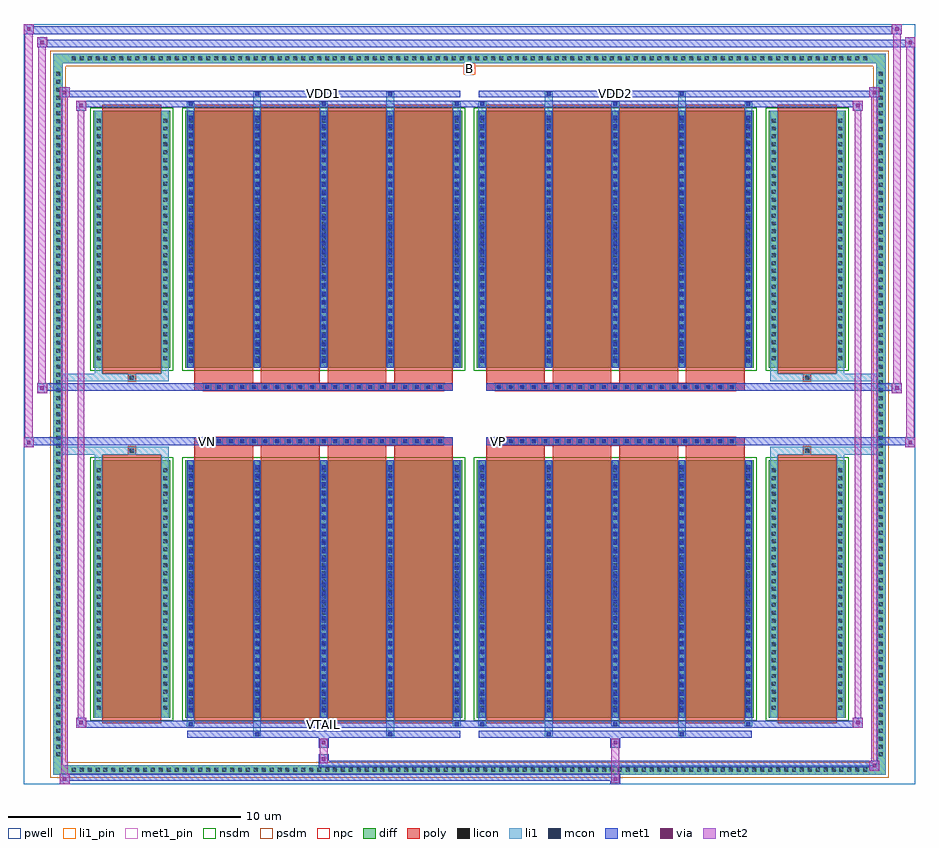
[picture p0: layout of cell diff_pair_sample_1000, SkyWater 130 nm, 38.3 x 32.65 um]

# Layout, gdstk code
import gdstk
lib = gdstk.Library(unit=1e-6, precision=5e-09)
def R(c, l, rs):  # rectangles x0, y0, x1, y1
    for r in rs: c.add(gdstk.rectangle(r[:2], r[2:], *l))
def A(c, l, x, y, w, h, nx, ny, dx, dy):  # array of equal rectangles
    R(c, l, [(x+i*dx, y+j*dy, x+i*dx+w, y+j*dy+h) for i in range(nx) for j in range(ny)])
def P(c, l, *ps):  # polygons
    for p in ps: c.add(gdstk.Polygon(p, *l))
pwell = (64, 44)
diff = (65, 20)
poly = (66, 20)
licon = (66, 44)
li1_pin = (67, 16)
li1 = (67, 20)
mcon = (67, 44)
met1_pin = (68, 16)
met1 = (68, 20)
via = (68, 44)
met2 = (69, 20)
nsdm = (93, 44)
psdm = (94, 20)
npc = (95, 20)

diff_pair_sample_1000 = lib.new_cell('diff_pair_sample_1000')
R(diff_pair_sample_1000, pwell, [(-19.15,-15.89,19.15,16.76), (-16.47,-14.08,-0.01,-0.8), (0.01,-14.08,16.47,-0.8), (-16.47,0.8,-0.01,14.08), (0.01,0.8,16.47,14.08)])
A(diff_pair_sample_1000, diff, -17.205, -15.49, 0.41, 0.41, 101, 2, 0.34, 30.57)
A(diff_pair_sample_1000, diff, -17.88, -14.825, 0.41, 0.41, 1, 87, 0, 0.34)
A(diff_pair_sample_1000, diff, 17.47, -14.825, 0.41, 0.41, 1, 87, 0, 0.34)
R(diff_pair_sample_1000, diff, [(-17.205,-15.49,17.205,-15.08), (-17.88,-14.825,-17.47,14.825), (17.47,-14.825,17.88,14.825), (-16.16,-13.035,-12.85,-1.985), (-12.21,-13.035,-0.32,-1.985), (0.32,-13.035,12.21,-1.985), (12.85,-13.035,16.16,-1.985), (-16.16,1.985,-12.85,13.035), (-12.21,1.985,-0.32,13.035), (0.32,1.985,12.21,13.035), (12.85,1.985,16.16,13.035), (-17.205,15.08,17.205,15.49)])
P(diff_pair_sample_1000, diff, [(17.88,15.49),(-17.88,15.49),(-17.88,-15.08),(-17.47,-15.08),(-17.47,15.08),(17.47,15.08),(17.47,-15.08),(-17.47,-15.08),(-17.88,-15.08),(-17.88,-15.49),(17.88,-15.49)])
A(diff_pair_sample_1000, poly, -11.82, -13.285, 2.53, 11.55, 4, 2, 2.86, 15.02)
A(diff_pair_sample_1000, poly, 0.71, -13.285, 2.53, 11.55, 4, 2, 2.86, 15.02)
A(diff_pair_sample_1000, poly, -11.82, -1.735, 2.53, 0.405, 4, 2, 2.86, 3.065)
A(diff_pair_sample_1000, poly, 0.71, -1.735, 2.53, 0.405, 4, 2, 2.86, 3.065)
A(diff_pair_sample_1000, poly, -11.43, -1.33, 0.33, 0.33, 21, 2, 0.5, 2.33)
A(diff_pair_sample_1000, poly, 1.1, -1.33, 0.33, 0.33, 21, 2, 0.5, 2.33)
R(diff_pair_sample_1000, poly, [(-15.77,-13.285,-13.24,-1.735), (13.24,-13.285,15.77,-1.735), (-14.67,-1.735,-14.34,-1.405), (-14.67,-1.735,-14.34,-1.405), (14.34,-1.735,14.67,-1.405), (14.34,-1.735,14.67,-1.405), (-11.82,-1.33,-0.71,-1), (0.71,-1.33,11.82,-1), (-11.82,1,-0.71,1.33), (0.71,1,11.82,1.33), (-14.67,1.405,-14.34,1.735), (-14.67,1.405,-14.34,1.735), (14.34,1.405,14.67,1.735), (14.34,1.405,14.67,1.735), (-15.77,1.735,-13.24,13.285), (13.24,1.735,15.77,13.285)])
A(diff_pair_sample_1000, licon, -17.085, -15.37, 0.17, 0.17, 101, 2, 0.34, 30.57)
A(diff_pair_sample_1000, licon, -17.76, -14.705, 0.17, 0.17, 1, 87, 0, 0.34)
A(diff_pair_sample_1000, licon, 17.59, -14.705, 0.17, 0.17, 1, 87, 0, 0.34)
A(diff_pair_sample_1000, licon, -16.02, -12.695, 0.17, 0.17, 1, 31, 0, 0.34)
A(diff_pair_sample_1000, licon, -13.16, -12.695, 0.17, 0.17, 1, 31, 0, 0.34)
A(diff_pair_sample_1000, licon, -12.07, -12.695, 0.17, 0.17, 5, 31, 2.86, 0.34)
A(diff_pair_sample_1000, licon, 0.46, -12.695, 0.17, 0.17, 5, 31, 2.86, 0.34)
A(diff_pair_sample_1000, licon, 12.99, -12.695, 0.17, 0.17, 1, 31, 0, 0.34)
A(diff_pair_sample_1000, licon, 15.85, -12.695, 0.17, 0.17, 1, 31, 0, 0.34)
A(diff_pair_sample_1000, licon, -11.35, -1.25, 0.17, 0.17, 21, 2, 0.5, 2.33)
A(diff_pair_sample_1000, licon, 1.18, -1.25, 0.17, 0.17, 21, 2, 0.5, 2.33)
A(diff_pair_sample_1000, licon, -16.02, 2.325, 0.17, 0.17, 1, 31, 0, 0.34)
A(diff_pair_sample_1000, licon, -13.16, 2.325, 0.17, 0.17, 1, 31, 0, 0.34)
A(diff_pair_sample_1000, licon, -12.07, 2.325, 0.17, 0.17, 5, 31, 2.86, 0.34)
A(diff_pair_sample_1000, licon, 0.46, 2.325, 0.17, 0.17, 5, 31, 2.86, 0.34)
A(diff_pair_sample_1000, licon, 12.99, 2.325, 0.17, 0.17, 1, 31, 0, 0.34)
A(diff_pair_sample_1000, licon, 15.85, 2.325, 0.17, 0.17, 1, 31, 0, 0.34)
R(diff_pair_sample_1000, licon, [(-14.59,-1.655,-14.42,-1.485), (14.42,-1.655,14.59,-1.485), (-14.59,1.485,-14.42,1.655), (14.42,1.485,14.59,1.655)])
R(diff_pair_sample_1000, li1_pin, [(-0.25,14.58,0.25,15.08)])
A(diff_pair_sample_1000, li1, -17.165, -15.45, 0.33, 0.33, 101, 2, 0.34, 30.57)
A(diff_pair_sample_1000, li1, -17.84, -14.785, 0.33, 0.33, 1, 87, 0, 0.34)
A(diff_pair_sample_1000, li1, 17.51, -14.785, 0.33, 0.33, 1, 87, 0, 0.34)
A(diff_pair_sample_1000, li1, -12.15, -13.41, 0.33, 0.375, 3, 2, 5.72, 26.445)
A(diff_pair_sample_1000, li1, -12.07, -13.41, 0.17, 0.17, 3, 2, 5.72, 26.65)
A(diff_pair_sample_1000, li1, 0.38, -13.41, 0.33, 0.375, 3, 2, 5.72, 26.445)
A(diff_pair_sample_1000, li1, 0.46, -13.41, 0.17, 0.17, 3, 2, 5.72, 26.65)
A(diff_pair_sample_1000, li1, -12.15, -13.035, 0.33, 11.05, 5, 2, 2.86, 15.02)
A(diff_pair_sample_1000, li1, 0.38, -13.035, 0.33, 11.05, 5, 2, 2.86, 15.02)
A(diff_pair_sample_1000, li1, -12.07, -12.815, 0.17, 0.17, 5, 30, 2.86, 0.36)
A(diff_pair_sample_1000, li1, -12.07, -12.815, 0.17, 10.61, 5, 2, 2.86, 15.02)
A(diff_pair_sample_1000, li1, 0.46, -12.815, 0.17, 0.17, 5, 30, 2.86, 0.36)
A(diff_pair_sample_1000, li1, 0.46, -12.815, 0.17, 10.61, 5, 2, 2.86, 15.02)
A(diff_pair_sample_1000, li1, -16.1, -12.775, 0.33, 0.33, 1, 31, 0, 0.34)
A(diff_pair_sample_1000, li1, -13.24, -12.775, 0.33, 0.33, 1, 31, 0, 0.34)
A(diff_pair_sample_1000, li1, -12.15, -12.775, 0.33, 0.33, 5, 31, 2.86, 0.34)
A(diff_pair_sample_1000, li1, 0.38, -12.775, 0.33, 0.33, 5, 31, 2.86, 0.34)
A(diff_pair_sample_1000, li1, 12.91, -12.775, 0.33, 0.33, 1, 31, 0, 0.34)
A(diff_pair_sample_1000, li1, 15.77, -12.775, 0.33, 0.33, 1, 31, 0, 0.34)
A(diff_pair_sample_1000, li1, -11.43, -1.33, 0.33, 0.33, 21, 2, 0.5, 2.33)
A(diff_pair_sample_1000, li1, 1.1, -1.33, 0.33, 0.33, 21, 2, 0.5, 2.33)
A(diff_pair_sample_1000, li1, -12.07, 2.205, 0.17, 0.17, 5, 30, 2.86, 0.36)
A(diff_pair_sample_1000, li1, 0.46, 2.205, 0.17, 0.17, 5, 30, 2.86, 0.36)
A(diff_pair_sample_1000, li1, -16.1, 2.245, 0.33, 0.33, 1, 31, 0, 0.34)
A(diff_pair_sample_1000, li1, -13.24, 2.245, 0.33, 0.33, 1, 31, 0, 0.34)
A(diff_pair_sample_1000, li1, -12.15, 2.245, 0.33, 0.33, 5, 31, 2.86, 0.34)
A(diff_pair_sample_1000, li1, 0.38, 2.245, 0.33, 0.33, 5, 31, 2.86, 0.34)
A(diff_pair_sample_1000, li1, 12.91, 2.245, 0.33, 0.33, 1, 31, 0, 0.34)
A(diff_pair_sample_1000, li1, 15.77, 2.245, 0.33, 0.33, 1, 31, 0, 0.34)
R(diff_pair_sample_1000, li1, [(-17.88,-15.49,-17.47,-15.08), (-17.88,-15.49,-17.47,-15.08), (-17.47,-15.49,17.47,-15.08), (17.47,-15.49,17.88,-15.08), (17.47,-15.49,17.88,-15.08), (-17.88,-15.08,-17.47,15.08), (17.47,-15.08,17.88,15.08), (-9.29,-13.84,-8.96,-13.035), (-9.21,-13.84,-9.04,-13.67), (-3.57,-13.84,-3.24,-13.035), (-3.49,-13.84,-3.32,-13.67), (3.24,-13.84,3.57,-13.035), (3.32,-13.84,3.49,-13.67), (8.96,-13.84,9.29,-13.035), (9.04,-13.84,9.21,-13.67), (-16.1,-13.035,-15.77,-1.985), (-13.24,-13.035,-12.91,-1.985), (12.91,-13.035,13.24,-1.985), (15.77,-13.035,16.1,-1.985), (-16.1,-1.985,-15.77,-1.405), (-13.24,-1.985,-12.91,-1.405), (12.91,-1.985,13.24,-1.405), (15.77,-1.985,16.1,-1.405), (-17.88,-1.735,-14.67,-1.405), (-16.1,-1.735,-14.67,-1.405), (-14.67,-1.735,-14.34,-1.405), (-14.34,-1.735,-12.91,-1.405), (12.91,-1.735,14.34,-1.405), (14.34,-1.735,14.67,-1.405), (14.34,-1.735,17.88,-1.405), (14.67,-1.735,16.1,-1.405), (-17.88,1.405,-14.67,1.735), (-16.1,1.405,-14.67,1.735), (-16.1,1.405,-15.77,1.985), (-14.67,1.405,-14.34,1.735), (-14.34,1.405,-12.91,1.735), (-13.24,1.405,-12.91,1.985), (12.91,1.405,14.34,1.735), (12.91,1.405,13.24,1.985), (14.34,1.405,14.67,1.735), (14.34,1.405,17.88,1.735), (14.67,1.405,16.1,1.735), (15.77,1.405,16.1,1.985), (-16.1,1.985,-15.77,13.035), (-13.24,1.985,-12.91,13.035), (12.91,1.985,13.24,13.035), (15.77,1.985,16.1,13.035), (-9.29,13.035,-8.96,13.84), (-3.57,13.035,-3.24,13.84), (3.24,13.035,3.57,13.84), (8.96,13.035,9.29,13.84), (-9.21,13.67,-9.04,13.84), (-3.49,13.67,-3.32,13.84), (3.32,13.67,3.49,13.84), (9.04,13.67,9.21,13.84), (-17.88,15.08,-17.47,15.49), (-17.88,15.08,-17.47,15.49), (-17.47,15.08,17.47,15.49), (17.47,15.08,17.88,15.49), (17.47,15.08,17.88,15.49)])
A(diff_pair_sample_1000, mcon, -12.07, -13.41, 0.17, 0.17, 3, 2, 5.72, 26.65)
A(diff_pair_sample_1000, mcon, 0.46, -13.41, 0.17, 0.17, 3, 2, 5.72, 26.65)
A(diff_pair_sample_1000, mcon, -12.07, -12.815, 0.17, 0.17, 5, 30, 2.86, 0.36)
A(diff_pair_sample_1000, mcon, 0.46, -12.815, 0.17, 0.17, 5, 30, 2.86, 0.36)
A(diff_pair_sample_1000, mcon, -11.35, -1.25, 0.17, 0.17, 21, 2, 0.5, 2.33)
A(diff_pair_sample_1000, mcon, 1.18, -1.25, 0.17, 0.17, 21, 2, 0.5, 2.33)
A(diff_pair_sample_1000, mcon, -12.07, 2.205, 0.17, 0.17, 5, 30, 2.86, 0.36)
A(diff_pair_sample_1000, mcon, 0.46, 2.205, 0.17, 0.17, 5, 30, 2.86, 0.36)
R(diff_pair_sample_1000, mcon, [(-9.21,-13.84,-9.04,-13.67), (-3.49,-13.84,-3.32,-13.67), (3.32,-13.84,3.49,-13.67), (9.04,-13.84,9.21,-13.67), (-9.21,13.67,-9.04,13.84), (-3.49,13.67,-3.32,13.84), (3.32,13.67,3.49,13.84), (9.04,13.67,9.21,13.84)])
R(diff_pair_sample_1000, met1_pin, [(-6.4,-13.45,-6.13,-13.18), (-11.4,-1.29,-11.13,-1.02), (1.13,-1.29,1.4,-1.02), (-6.4,13.63,-6.13,13.9), (6.13,13.63,6.4,13.9)])
A(diff_pair_sample_1000, met1, -12.13, -13.47, 0.29, 0.29, 3, 2, 5.72, 26.65)
A(diff_pair_sample_1000, met1, 0.4, -13.47, 0.29, 0.29, 3, 2, 5.72, 26.65)
A(diff_pair_sample_1000, met1, -12.13, -13.035, 0.29, 11.05, 5, 2, 2.86, 15.02)
A(diff_pair_sample_1000, met1, 0.4, -13.035, 0.29, 11.05, 5, 2, 2.86, 15.02)
A(diff_pair_sample_1000, met1, -12.13, -12.875, 0.29, 0.29, 5, 30, 2.86, 0.36)
A(diff_pair_sample_1000, met1, 0.4, -12.875, 0.29, 0.29, 5, 30, 2.86, 0.36)
A(diff_pair_sample_1000, met1, -11.41, -1.31, 0.29, 0.29, 21, 2, 0.5, 2.33)
A(diff_pair_sample_1000, met1, 1.12, -1.31, 0.29, 0.29, 21, 2, 0.5, 2.33)
A(diff_pair_sample_1000, met1, -12.13, 2.145, 0.29, 0.29, 5, 30, 2.86, 0.36)
A(diff_pair_sample_1000, met1, 0.4, 2.145, 0.29, 0.29, 5, 30, 2.86, 0.36)
R(diff_pair_sample_1000, met1, [(-17.61,-15.89,-17.18,-15.46), (6.05,-15.89,6.48,-15.46), (-17.61,-15.75,6.48,-15.46), (17.18,-15.32,17.61,-14.89), (-6.48,-15.18,17.61,-14.89), (-6.48,-15.04,-6.05,-14.61), (-6.48,-14.33,-6.05,-13.9), (6.05,-14.33,6.48,-13.9), (-12.13,-13.9,-0.4,-13.61), (-9.27,-13.9,-8.98,-13.61), (-3.55,-13.9,-3.26,-13.61), (0.4,-13.9,12.13,-13.61), (3.26,-13.9,3.55,-13.61), (8.98,-13.9,9.27,-13.61), (-16.9,-13.47,-16.47,-13.04), (-16.9,-13.47,-12.13,-13.18), (-12.13,-13.47,-0.4,-13.18), (-0.4,-13.47,0.4,-13.18), (0.4,-13.47,12.13,-13.18), (12.13,-13.47,16.9,-13.18), (16.47,-13.47,16.9,-13.04), (-19.15,-1.43,-18.72,-1), (18.72,-1.43,19.15,-1), (-19.15,-1.33,-0.71,-1), (-11.82,-1.33,-0.71,-1), (0.71,-1.33,11.82,-1), (0.71,-1.33,19.15,-1), (-18.58,0.9,-18.15,1.33), (18.15,0.9,18.58,1.33), (-18.58,1,-11.82,1.33), (-11.82,1,-0.71,1.33), (0.71,1,11.82,1.33), (11.82,1,18.58,1.33), (-16.9,13.04,-16.47,13.47), (16.47,13.04,16.9,13.47), (-16.9,13.18,-12.13,13.47), (-12.13,13.18,-0.4,13.47), (-0.4,13.18,0.4,13.47), (0.4,13.18,12.13,13.47), (12.13,13.18,16.9,13.47), (-17.61,13.61,-17.18,14.04), (-17.61,13.61,-12.13,13.9), (-12.13,13.61,-0.4,13.9), (-9.27,13.61,-8.98,13.9), (-3.55,13.61,-3.26,13.9), (0.4,13.61,12.13,13.9), (3.26,13.61,3.55,13.9), (8.98,13.61,9.27,13.9), (12.13,13.61,17.61,13.9), (17.18,13.61,17.61,14.04), (-18.58,15.76,-18.15,16.19), (-18.58,15.76,-16.47,16.09), (-16.47,15.76,16.47,16.09), (16.47,15.76,19.15,16.09), (18.72,15.76,19.15,16.19), (-19.15,16.33,-18.72,16.76), (-19.15,16.33,-16.47,16.66), (-16.47,16.33,16.47,16.66), (16.47,16.33,18.58,16.66), (18.15,16.33,18.58,16.76)])
R(diff_pair_sample_1000, via, [(-17.47,-15.75,-17.32,-15.6), (6.19,-15.75,6.34,-15.6), (17.32,-15.18,17.47,-15.03), (-6.34,-14.9,-6.19,-14.75), (-6.34,-14.19,-6.19,-14.04), (6.19,-14.19,6.34,-14.04), (-16.76,-13.33,-16.61,-13.18), (16.61,-13.33,16.76,-13.18), (-19.01,-1.29,-18.86,-1.14), (18.86,-1.29,19.01,-1.14), (-18.44,1.04,-18.29,1.19), (18.29,1.04,18.44,1.19), (-16.76,13.18,-16.61,13.33), (16.61,13.18,16.76,13.33), (-17.47,13.75,-17.32,13.9), (17.32,13.75,17.47,13.9), (-18.44,15.9,-18.29,16.05), (18.86,15.9,19.01,16.05), (-19.01,16.47,-18.86,16.62), (18.29,16.47,18.44,16.62)])
R(diff_pair_sample_1000, met2, [(-17.61,-15.89,-17.18,-15.46), (-17.54,-15.89,-17.25,14.04), (-17.25,-15.89,-17.18,-15.46), (-17.56,-15.84,-17.23,-15.51), (6.1,-15.84,6.43,-15.51), (6.1,-15.51,6.43,-14.28), (17.18,-15.32,17.61,-14.89), (17.25,-15.32,17.54,14.04), (17.54,-15.32,17.61,-14.89), (17.23,-15.27,17.56,-14.94), (-6.43,-14.99,-6.1,-14.66), (-6.43,-14.66,-6.1,-14.28), (-6.43,-14.28,-6.1,-13.95), (6.1,-14.28,6.43,-13.95), (-16.9,-13.47,-16.47,-13.04), (-16.83,-13.47,-16.54,13.47), (-16.54,-13.47,-16.47,-13.04), (16.47,-13.47,16.9,-13.04), (16.54,-13.47,16.83,13.47), (16.83,-13.47,16.9,-13.04), (-16.85,-13.42,-16.52,-13.09), (16.52,-13.42,16.85,-13.09), (-19.15,-1.43,-18.72,-1), (-19.1,-1.43,-18.77,16.76), (-18.77,-1.43,-18.72,-1), (18.72,-1.43,19.15,-1), (18.77,-1.43,19.1,16.19), (19.1,-1.43,19.15,-1), (-19.1,-1.38,-18.77,-1.05), (18.77,-1.38,19.1,-1.05), (-18.58,0.9,-18.15,1.33), (-18.53,0.9,-18.2,16.19), (-18.2,0.9,-18.15,1.33), (18.15,0.9,18.58,1.33), (18.2,0.9,18.53,16.76), (18.53,0.9,18.58,1.33), (-18.53,0.95,-18.2,1.28), (18.2,0.95,18.53,1.28), (-16.9,13.04,-16.47,13.47), (-16.54,13.04,-16.47,13.47), (16.47,13.04,16.9,13.47), (16.83,13.04,16.9,13.47), (-16.85,13.09,-16.52,13.42), (16.52,13.09,16.85,13.42), (-17.61,13.61,-17.18,14.04), (-17.25,13.61,-17.18,14.04), (17.18,13.61,17.61,14.04), (17.54,13.61,17.61,14.04), (-17.56,13.66,-17.23,13.99), (17.23,13.66,17.56,13.99), (-18.58,15.76,-18.15,16.19), (-18.2,15.76,-18.15,16.19), (18.72,15.76,19.15,16.19), (19.1,15.76,19.15,16.19), (-18.53,15.81,-18.2,16.14), (18.77,15.81,19.1,16.14), (-19.15,16.33,-18.72,16.76), (-18.77,16.33,-18.72,16.76), (18.15,16.33,18.58,16.76), (18.53,16.33,18.58,16.76), (-19.1,16.38,-18.77,16.71), (18.2,16.38,18.53,16.71)])
R(diff_pair_sample_1000, nsdm, [(-16.29,-13.165,-12.72,-1.855), (-12.34,-13.165,-0.19,-1.855), (0.19,-13.165,12.34,-1.855), (12.72,-13.165,16.29,-1.855), (-16.29,1.855,-12.72,13.165), (-12.34,1.855,-0.19,13.165), (0.19,1.855,12.34,13.165), (12.72,1.855,16.29,13.165)])
P(diff_pair_sample_1000, psdm, [(18.01,15.62),(-18.01,15.62),(-18.01,-14.95),(-17.34,-14.95),(-17.34,14.95),(17.34,14.95),(17.34,-14.95),(-17.34,-14.95),(-18.01,-14.95),(-18.01,-15.62),(18.01,-15.62)])
A(diff_pair_sample_1000, npc, -11.45, -1.35, 0.37, 0.37, 21, 2, 0.5, 2.33)
A(diff_pair_sample_1000, npc, 1.08, -1.35, 0.37, 0.37, 21, 2, 0.5, 2.33)
R(diff_pair_sample_1000, npc, [(-14.69,-1.755,-14.32,-1.385), (14.32,-1.755,14.69,-1.385), (-11.45,-1.35,-10.58,-0.98), (-11.45,-1.35,-10.58,-0.98), (-10.95,-1.35,-10.08,-0.98), (-10.95,-1.35,-10.08,-0.98), (-10.45,-1.35,-9.58,-0.98), (-10.45,-1.35,-9.58,-0.98), (-9.95,-1.35,-9.08,-0.98), (-9.95,-1.35,-9.08,-0.98), (-9.45,-1.35,-8.58,-0.98), (-9.45,-1.35,-8.58,-0.98), (-8.95,-1.35,-8.08,-0.98), (-8.95,-1.35,-8.08,-0.98), (-8.45,-1.35,-7.58,-0.98), (-8.45,-1.35,-7.58,-0.98), (-7.95,-1.35,-7.08,-0.98), (-7.95,-1.35,-7.08,-0.98), (-7.45,-1.35,-6.58,-0.98), (-7.45,-1.35,-6.58,-0.98), (-6.95,-1.35,-6.08,-0.98), (-6.95,-1.35,-6.08,-0.98), (-6.45,-1.35,-5.58,-0.98), (-6.45,-1.35,-5.58,-0.98), (-5.95,-1.35,-5.08,-0.98), (-5.95,-1.35,-5.08,-0.98), (-5.45,-1.35,-4.58,-0.98), (-5.45,-1.35,-4.58,-0.98), (-4.95,-1.35,-4.08,-0.98), (-4.95,-1.35,-4.08,-0.98), (-4.45,-1.35,-3.58,-0.98), (-4.45,-1.35,-3.58,-0.98), (-3.95,-1.35,-3.08,-0.98), (-3.95,-1.35,-3.08,-0.98), (-3.45,-1.35,-2.58,-0.98), (-3.45,-1.35,-2.58,-0.98), (-2.95,-1.35,-2.08,-0.98), (-2.95,-1.35,-2.08,-0.98), (-2.45,-1.35,-1.58,-0.98), (-2.45,-1.35,-1.58,-0.98), (-1.95,-1.35,-1.08,-0.98), (-1.95,-1.35,-1.08,-0.98), (1.08,-1.35,1.95,-0.98), (1.08,-1.35,1.95,-0.98), (1.58,-1.35,2.45,-0.98), (1.58,-1.35,2.45,-0.98), (2.08,-1.35,2.95,-0.98), (2.08,-1.35,2.95,-0.98), (2.58,-1.35,3.45,-0.98), (2.58,-1.35,3.45,-0.98), (3.08,-1.35,3.95,-0.98), (3.08,-1.35,3.95,-0.98), (3.58,-1.35,4.45,-0.98), (3.58,-1.35,4.45,-0.98), (4.08,-1.35,4.95,-0.98), (4.08,-1.35,4.95,-0.98), (4.58,-1.35,5.45,-0.98), (4.58,-1.35,5.45,-0.98), (5.08,-1.35,5.95,-0.98), (5.08,-1.35,5.95,-0.98), (5.58,-1.35,6.45,-0.98), (5.58,-1.35,6.45,-0.98), (6.08,-1.35,6.95,-0.98), (6.08,-1.35,6.95,-0.98), (6.58,-1.35,7.45,-0.98), (6.58,-1.35,7.45,-0.98), (7.08,-1.35,7.95,-0.98), (7.08,-1.35,7.95,-0.98), (7.58,-1.35,8.45,-0.98), (7.58,-1.35,8.45,-0.98), (8.08,-1.35,8.95,-0.98), (8.08,-1.35,8.95,-0.98), (8.58,-1.35,9.45,-0.98), (8.58,-1.35,9.45,-0.98), (9.08,-1.35,9.95,-0.98), (9.08,-1.35,9.95,-0.98), (9.58,-1.35,10.45,-0.98), (9.58,-1.35,10.45,-0.98), (10.08,-1.35,10.95,-0.98), (10.08,-1.35,10.95,-0.98), (10.58,-1.35,11.45,-0.98), (10.58,-1.35,11.45,-0.98), (-11.45,0.98,-10.58,1.35), (-11.45,0.98,-10.58,1.35), (-10.95,0.98,-10.08,1.35), (-10.95,0.98,-10.08,1.35), (-10.45,0.98,-9.58,1.35), (-10.45,0.98,-9.58,1.35), (-9.95,0.98,-9.08,1.35), (-9.95,0.98,-9.08,1.35), (-9.45,0.98,-8.58,1.35), (-9.45,0.98,-8.58,1.35), (-8.95,0.98,-8.08,1.35), (-8.95,0.98,-8.08,1.35), (-8.45,0.98,-7.58,1.35), (-8.45,0.98,-7.58,1.35), (-7.95,0.98,-7.08,1.35), (-7.95,0.98,-7.08,1.35), (-7.45,0.98,-6.58,1.35), (-7.45,0.98,-6.58,1.35), (-6.95,0.98,-6.08,1.35), (-6.95,0.98,-6.08,1.35), (-6.45,0.98,-5.58,1.35), (-6.45,0.98,-5.58,1.35), (-5.95,0.98,-5.08,1.35), (-5.95,0.98,-5.08,1.35), (-5.45,0.98,-4.58,1.35), (-5.45,0.98,-4.58,1.35), (-4.95,0.98,-4.08,1.35), (-4.95,0.98,-4.08,1.35), (-4.45,0.98,-3.58,1.35), (-4.45,0.98,-3.58,1.35), (-3.95,0.98,-3.08,1.35), (-3.95,0.98,-3.08,1.35), (-3.45,0.98,-2.58,1.35), (-3.45,0.98,-2.58,1.35), (-2.95,0.98,-2.08,1.35), (-2.95,0.98,-2.08,1.35), (-2.45,0.98,-1.58,1.35), (-2.45,0.98,-1.58,1.35), (-1.95,0.98,-1.08,1.35), (-1.95,0.98,-1.08,1.35), (1.08,0.98,1.95,1.35), (1.08,0.98,1.95,1.35), (1.58,0.98,2.45,1.35), (1.58,0.98,2.45,1.35), (2.08,0.98,2.95,1.35), (2.08,0.98,2.95,1.35), (2.58,0.98,3.45,1.35), (2.58,0.98,3.45,1.35), (3.08,0.98,3.95,1.35), (3.08,0.98,3.95,1.35), (3.58,0.98,4.45,1.35), (3.58,0.98,4.45,1.35), (4.08,0.98,4.95,1.35), (4.08,0.98,4.95,1.35), (4.58,0.98,5.45,1.35), (4.58,0.98,5.45,1.35), (5.08,0.98,5.95,1.35), (5.08,0.98,5.95,1.35), (5.58,0.98,6.45,1.35), (5.58,0.98,6.45,1.35), (6.08,0.98,6.95,1.35), (6.08,0.98,6.95,1.35), (6.58,0.98,7.45,1.35), (6.58,0.98,7.45,1.35), (7.08,0.98,7.95,1.35), (7.08,0.98,7.95,1.35), (7.58,0.98,8.45,1.35), (7.58,0.98,8.45,1.35), (8.08,0.98,8.95,1.35), (8.08,0.98,8.95,1.35), (8.58,0.98,9.45,1.35), (8.58,0.98,9.45,1.35), (9.08,0.98,9.95,1.35), (9.08,0.98,9.95,1.35), (9.58,0.98,10.45,1.35), (9.58,0.98,10.45,1.35), (10.08,0.98,10.95,1.35), (10.08,0.98,10.95,1.35), (10.58,0.98,11.45,1.35), (10.58,0.98,11.45,1.35), (-14.69,1.385,-14.32,1.755), (14.32,1.385,14.69,1.755)])
diff_pair_sample_1000.add(gdstk.Label('VTAIL', (-6.265,-13.315), layer=68, texttype=5))
diff_pair_sample_1000.add(gdstk.Label('VN', (-11.265,-1.155), layer=68, texttype=5))
diff_pair_sample_1000.add(gdstk.Label('VP', (1.265,-1.155), layer=68, texttype=5))
diff_pair_sample_1000.add(gdstk.Label('B', (0,14.83), layer=67, texttype=5))
diff_pair_sample_1000.add(gdstk.Label('VDD2', (6.265,13.765), layer=68, texttype=5))
diff_pair_sample_1000.add(gdstk.Label('VDD1', (-6.265,13.765), layer=68, texttype=5))

lib.write_gds('diff_pair_sample_1000.gds')
